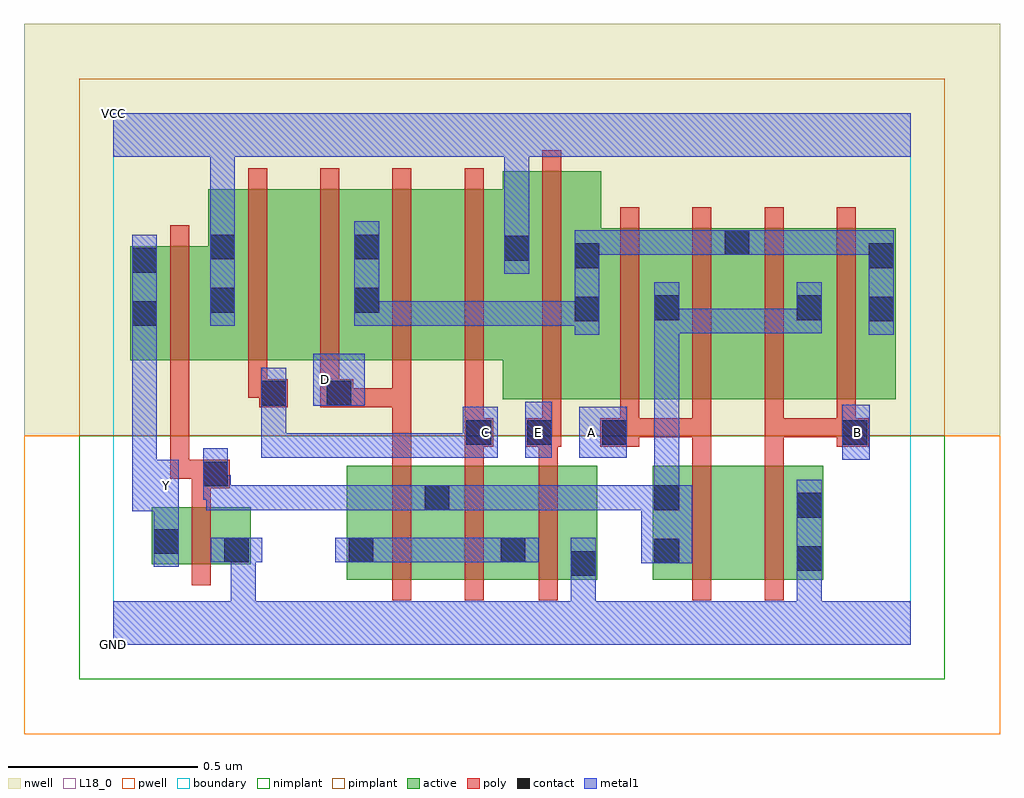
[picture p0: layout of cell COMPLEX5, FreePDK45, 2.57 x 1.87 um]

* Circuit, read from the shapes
.subckt COMPLEX5 A B C D E GND VCC Y
M1 GND n1 Y VSUBS nfet w=0.15u l=0.05u
M2 n1 D n2 VSUBS nfet w=0.3u l=0.05u
M3 n2 C n1 VSUBS nfet w=0.3u l=0.05u
M4 GND E n2 VSUBS nfet w=0.3u l=0.05u
M5 n3 A n1 VSUBS nfet w=0.3u l=0.05u
M6 GND B n3 VSUBS nfet w=0.3u l=0.05u
M7 VCC n1 Y n4 pfet w=0.3u l=0.05u
M8 n5 C VCC n4 pfet w=0.45u l=0.05u
M9 n6 D n5 n4 pfet w=0.45u l=0.05u
M10 n7 D n6 n4 pfet w=0.45u l=0.05u
M11 VCC C n7 n4 pfet w=0.45u l=0.05u
M12 n6 E VCC n4 pfet w=0.6u l=0.05u
M13 n1 A n6 n4 pfet w=0.45u l=0.05u m=2
M14 n1 B n6 n4 pfet w=0.45u l=0.05u m=2
.ends

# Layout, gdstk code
import gdstk
lib = gdstk.Library(unit=1e-6, precision=1e-09)
def R(c, l, rs):  # rectangles x0, y0, x1, y1
    for r in rs: c.add(gdstk.rectangle(r[:2], r[2:], *l))
def A(c, l, x, y, w, h, nx, ny, dx, dy):  # array of equal rectangles
    R(c, l, [(x+i*dx, y+j*dy, x+i*dx+w, y+j*dy+h) for i in range(nx) for j in range(ny)])
active = (1, 0)
pwell = (2, 0)
nwell = (3, 0)
nimplant = (4, 0)
pimplant = (5, 0)
poly = (9, 0)
contact = (10, 0)
metal1 = (11, 0)
L18_0 = (18, 0)
boundary = (235, 0)

complex5 = lib.new_cell('COMPLEX5')
R(complex5, active, [(0.615,0.172,0.89,0.472), (0.815,0.172,1.09,0.472), (1.015,0.172,1.275,0.472), (1.2,0.172,1.275,0.472), (1.42,0.172,1.645,0.472), (1.645,0.172,1.87,0.472), (1.795,0.172,1.87,0.472), (0.615,0.195,0.69,0.472), (0.815,0.195,0.89,0.425), (1.015,0.195,1.09,0.397), (1.42,0.195,1.525,0.472), (0.102,0.212,0.362,0.362), (0.287,0.212,0.362,0.362), (0.102,0.235,0.177,0.362), (1.025,0.647,1.285,1.247), (1.21,0.647,1.495,1.097), (1.42,0.647,1.495,1.055), (1.42,0.647,1.68,1.097), (1.605,0.647,1.87,1.097), (1.605,0.647,1.68,1.097), (1.795,0.647,2.06,1.097), (1.795,0.647,1.87,1.055), (1.985,0.647,2.06,1.062), (0.045,0.75,0.12,1.05), (0.045,0.75,0.325,1.05), (0.25,0.75,0.475,1.2), (0.25,0.75,0.325,1.085), (0.475,0.75,0.705,1.2), (0.63,0.75,0.705,1.165), (0.63,0.75,0.855,1.2), (0.855,0.75,1.1,1.2), (1.025,0.817,1.1,1.082), (1.21,0.847,1.285,1.2)])
R(complex5, pwell, [(-0.235,-0.235,2.335,0.55)])
R(complex5, nwell, [(-0.235,0.55,2.335,1.635)])
R(complex5, nimplant, [(-0.09,-0.09,2.19,0.55)])
R(complex5, pimplant, [(-0.09,0.55,2.19,1.49)])
A(complex5, poly, 1.335, 0.547, 0.05, 0.095, 4, 1, 0.19, 0)
A(complex5, poly, 1.335, 0.592, 0.05, 0.56, 4, 1, 0.19, 0)
A(complex5, poly, 0.355, 0.695, 0.05, 0.56, 4, 1, 0.19, 0)
R(complex5, poly, [(0.735,0.117,0.785,0.527), (0.925,0.117,0.975,0.527), (1.12,0.117,1.17,0.527), (1.525,0.117,1.575,0.527), (1.715,0.117,1.765,0.527), (0.207,0.157,0.257,0.417), (0.207,0.367,0.257,0.462), (0.207,0.412,0.307,0.487), (0.15,0.437,0.2,0.745), (0.15,0.437,0.257,0.487), (0.207,0.437,0.257,0.487), (0.735,0.477,0.785,0.675), (0.925,0.477,0.975,0.572), (1.12,0.477,1.17,0.572), (1.525,0.477,1.575,0.597), (1.715,0.477,1.765,0.597), (0.925,0.522,1,0.597), (1.085,0.522,1.18,0.597), (1.12,0.522,1.17,0.572), (1.12,0.522,1.17,0.572), (1.282,0.522,1.385,0.597), (1.905,0.522,1.99,0.597), (0.925,0.547,0.975,0.597), (0.925,0.547,0.975,0.597), (0.925,0.547,0.975,0.745), (1.13,0.547,1.18,0.642), (1.335,0.547,1.385,0.597), (1.335,0.547,1.385,0.597), (1.335,0.547,1.575,0.597), (1.525,0.547,1.575,0.597), (1.525,0.547,1.575,0.597), (1.525,0.547,1.575,0.597), (1.715,0.547,1.765,0.597), (1.715,0.547,1.765,0.597), (1.715,0.547,1.765,0.597), (1.715,0.547,1.955,0.597), (1.905,0.547,1.955,0.597), (1.905,0.547,1.955,0.597), (1.13,0.592,1.18,1.302), (0.385,0.625,0.46,0.7), (0.545,0.625,0.632,0.7), (0.582,0.625,0.632,0.675), (0.582,0.625,0.632,0.675), (0.582,0.625,0.785,0.675), (0.735,0.625,0.785,0.675), (0.735,0.625,0.785,0.675), (0.735,0.625,0.785,0.675), (0.735,0.625,0.785,0.745), (0.355,0.65,0.405,0.745), (0.355,0.65,0.435,0.7), (0.385,0.65,0.435,0.7), (0.545,0.65,0.595,0.745), (0.15,0.695,0.2,1.105)])
R(complex5, contact, [(1.205,0.182,1.27,0.247), (1.8,0.195,1.865,0.26), (1.425,0.215,1.49,0.28), (0.292,0.217,0.357,0.282), (0.62,0.217,0.685,0.282), (1.02,0.217,1.085,0.282), (0.107,0.24,0.172,0.305), (1.8,0.335,1.865,0.4), (0.82,0.355,0.885,0.42), (1.425,0.355,1.49,0.42), (0.237,0.417,0.302,0.482), (0.93,0.527,0.995,0.592), (1.09,0.527,1.155,0.592), (1.287,0.527,1.352,0.592), (1.92,0.527,1.985,0.592), (0.39,0.63,0.455,0.695), (0.562,0.63,0.627,0.695), (0.05,0.84,0.115,0.905), (1.215,0.852,1.28,0.917), (1.99,0.852,2.055,0.917), (1.425,0.855,1.49,0.92), (1.8,0.855,1.865,0.92), (0.255,0.875,0.32,0.94), (0.635,0.875,0.7,0.94), (0.05,0.98,0.115,1.045), (1.215,0.992,1.28,1.057), (1.99,0.992,2.055,1.057), (1.03,1.012,1.095,1.077), (0.255,1.015,0.32,1.08), (0.635,1.015,0.7,1.08), (1.61,1.027,1.675,1.092)])
R(complex5, metal1, [(0,0,2.1,0.115), (0.31,0.05,0.375,0.282), (1.205,0.05,1.27,0.212), (1.8,0.05,1.865,0.225), (1.205,0.147,1.27,0.282), (1.8,0.16,1.865,0.435), (0.107,0.205,0.172,0.34), (1.39,0.215,1.525,0.42), (0.257,0.217,0.392,0.282), (0.31,0.217,0.375,0.282), (0.31,0.217,0.375,0.282), (0.585,0.217,0.72,0.282), (0.655,0.217,0.73,0.282), (0.665,0.217,0.73,0.282), (0.665,0.217,0.912,0.282), (0.847,0.217,0.912,0.282), (0.847,0.217,0.912,0.282), (0.847,0.217,0.912,0.282), (0.847,0.217,1.05,0.282), (0.985,0.217,1.12,0.282), (0.107,0.275,0.172,0.417), (0.05,0.352,0.172,0.487), (0.245,0.355,0.31,0.42), (0.245,0.355,0.455,0.42), (0.245,0.355,0.31,0.447), (0.39,0.355,0.455,0.42), (0.39,0.355,0.455,0.42), (0.39,0.355,0.455,0.42), (0.39,0.355,0.592,0.42), (0.527,0.355,0.592,0.42), (0.527,0.355,0.592,0.42), (0.527,0.355,0.592,0.42), (0.527,0.355,0.775,0.42), (0.71,0.355,0.775,0.42), (0.71,0.355,0.85,0.42), (0.785,0.355,0.92,0.42), (0.855,0.355,0.92,0.42), (0.855,0.355,0.92,0.42), (0.855,0.355,1.057,0.42), (0.992,0.355,1.057,0.42), (0.992,0.355,1.057,0.42), (0.992,0.355,1.057,0.42), (0.992,0.355,1.195,0.42), (1.13,0.355,1.195,0.42), (1.13,0.355,1.195,0.42), (1.13,0.355,1.195,0.42), (1.13,0.355,1.455,0.42), (1.425,0.355,1.49,0.42), (1.425,0.355,1.49,0.42), (1.425,0.355,1.49,0.42), (1.425,0.355,1.49,0.42), (1.425,0.355,1.49,0.885), (0.237,0.382,0.302,0.517), (0.237,0.382,0.31,0.447), (0.245,0.382,0.31,0.447), (0.05,0.422,0.115,0.487), (0.05,0.422,0.115,0.487), (0.05,0.422,0.115,0.87), (1.92,0.487,1.992,0.632), (0.39,0.492,0.592,0.557), (0.39,0.492,0.455,0.66), (0.527,0.492,0.592,0.557), (0.527,0.492,0.592,0.557), (0.527,0.492,0.592,0.557), (0.527,0.492,0.775,0.557), (0.71,0.492,0.775,0.557), (0.71,0.492,0.857,0.557), (0.792,0.492,0.857,0.557), (0.792,0.492,0.985,0.557), (0.92,0.492,1.012,0.627), (1.085,0.492,1.155,0.64), (1.227,0.492,1.352,0.627), (0.39,0.595,0.455,0.66), (0.39,0.595,0.455,0.73), (0.527,0.63,0.662,0.767), (0.05,0.805,0.115,1.08), (1.215,0.817,1.28,1.092), (1.99,0.817,2.055,1.092), (1.425,0.82,1.49,0.885), (1.425,0.82,1.49,0.885), (1.425,0.82,1.49,0.955), (1.425,0.82,1.71,0.885), (1.645,0.82,1.71,0.885), (1.645,0.82,1.71,0.885), (1.645,0.82,1.71,0.885), (1.645,0.82,1.865,0.885), (1.8,0.82,1.865,0.955), (0.255,0.84,0.32,1.115), (0.635,0.84,0.7,1.115), (0.635,0.84,0.775,0.905), (0.71,0.84,0.775,0.905), (0.71,0.84,0.912,0.905), (0.847,0.84,0.912,0.905), (0.847,0.84,0.912,0.905), (0.847,0.84,0.912,0.905), (0.847,0.84,1.057,0.905), (0.992,0.84,1.057,0.905), (0.992,0.84,1.057,0.905), (0.992,0.84,1.057,0.905), (0.992,0.84,1.28,0.905), (1.03,0.977,1.095,1.112), (1.215,1.027,1.28,1.092), (1.215,1.027,1.28,1.092), (1.215,1.027,1.28,1.092), (1.215,1.027,1.28,1.092), (1.215,1.027,1.502,1.092), (1.437,1.027,1.502,1.092), (1.437,1.027,1.502,1.092), (1.437,1.027,1.502,1.092), (1.437,1.027,1.64,1.092), (1.575,1.027,1.71,1.092), (1.645,1.027,1.847,1.092), (1.782,1.027,1.847,1.092), (1.782,1.027,1.847,1.092), (1.782,1.027,1.847,1.092), (1.782,1.027,2.055,1.092), (1.99,1.027,2.055,1.092), (1.99,1.027,2.055,1.092), (1.03,1.047,1.095,1.35), (0.255,1.05,0.32,1.35), (0,1.285,2.1,1.4), (0.255,1.285,0.32,1.35), (0.255,1.285,0.32,1.35)])
A(complex5, L18_0, 0.947, 0.527, 0.065, 0.065, 3, 1, 0.14, 0)
R(complex5, L18_0, [(0,0,2.1,0.115), (0.31,0.05,0.375,0.282), (1.205,0.05,1.27,0.212), (1.8,0.05,1.865,0.225), (1.205,0.147,1.27,0.282), (1.8,0.16,1.865,0.435), (0.107,0.205,0.172,0.34), (0.257,0.217,0.392,0.282), (0.31,0.217,0.375,0.282), (0.31,0.217,0.375,0.282), (0.107,0.275,0.172,0.417), (0.05,0.352,0.172,0.487), (0.107,0.387,0.172,0.452), (0.05,0.422,0.115,0.487), (0.05,0.422,0.115,0.487), (0.05,0.422,0.115,0.87), (1.92,0.487,1.992,0.632), (0.39,0.492,0.455,0.66), (0.39,0.492,0.592,0.557), (0.527,0.492,0.592,0.557), (0.527,0.492,0.592,0.557), (0.527,0.492,0.592,0.557), (0.527,0.492,0.775,0.557), (0.71,0.492,0.775,0.557), (0.71,0.492,0.857,0.557), (0.792,0.492,0.857,0.557), (0.792,0.492,0.985,0.557), (0.92,0.492,1.012,0.627), (1.085,0.492,1.155,0.64), (1.227,0.492,1.352,0.627), (1.927,0.527,1.992,0.592), (0.39,0.595,0.455,0.73), (0.39,0.595,0.455,0.66), (0.527,0.63,0.662,0.767), (0.527,0.667,0.592,0.732), (0.05,0.805,0.115,1.08), (0.255,0.84,0.32,1.115), (1.03,0.977,1.095,1.112), (1.03,1.047,1.095,1.35), (0.255,1.05,0.32,1.35), (0,1.285,2.1,1.4), (0.255,1.285,0.32,1.35), (0.255,1.285,0.32,1.35)])
R(complex5, boundary, [(0,0,2.1,1.4)])
complex5.add(gdstk.Label('A', (1.26,0.56), layer=11, texttype=0))
complex5.add(gdstk.Label('B', (1.96,0.56), layer=11, texttype=0))
complex5.add(gdstk.Label('C', (0.98,0.56), layer=11, texttype=0))
complex5.add(gdstk.Label('D', (0.56,0.7), layer=11, texttype=0))
complex5.add(gdstk.Label('E', (1.12,0.56), layer=11, texttype=0))
complex5.add(gdstk.Label('Y', (0.14,0.42), layer=11, texttype=0))
complex5.add(gdstk.Label('VCC', (0,1.4), layer=11, texttype=0))
complex5.add(gdstk.Label('GND', (0,0), layer=11, texttype=0))

lib.write_gds('COMPLEX5.gds')
